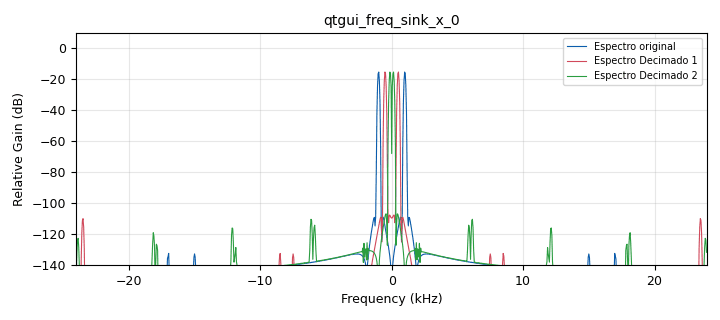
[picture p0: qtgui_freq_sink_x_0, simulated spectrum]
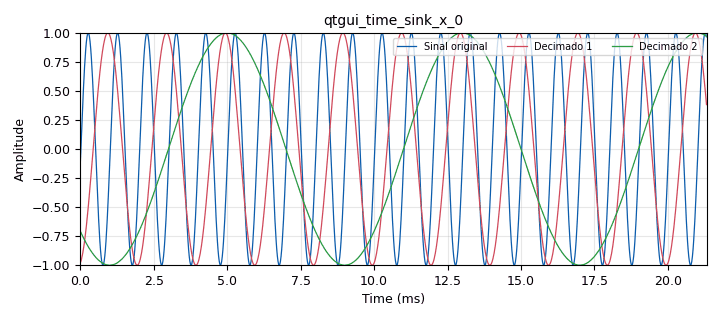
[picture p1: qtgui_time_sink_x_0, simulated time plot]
options:
  parameters:
    generate_options: qt_gui
    id: top_block
    output_language: python
  states: {}

blocks:
- name: samp_rate
  id: variable
  parameters:
    value: '48000'
  states: {}
- name: analog_sig_source_x_0
  id: analog_sig_source_x
  parameters:
    amp: '1'
    freq: '1000'
    offset: '0'
    phase: '0'
    samp_rate: samp_rate
    type: float
    waveform: analog.GR_COS_WAVE
  states: {}
- name: blocks_throttle_0
  id: blocks_throttle
  parameters:
    samples_per_second: samp_rate
    type: float
  states: {}
- name: qtgui_freq_sink_x_0
  id: qtgui_freq_sink_x
  parameters:
    bw: samp_rate
    fc: '0'
    fftsize: '1024'
    label1: Espectro original
    label2: Espectro Decimado 1
    label3: Espectro Decimado 2
    nconnections: '3'
    showports: 'True'
    type: float
    wintype: firdes.WIN_BLACKMAN_hARRIS
  states: {}
- name: qtgui_time_sink_x_0
  id: qtgui_time_sink_x
  parameters:
    grid: 'True'
    label1: Sinal original
    label2: Decimado 1
    label3: Decimado 2
    nconnections: '3'
    size: '1024'
    srate: samp_rate
    tr_mode: qtgui.TRIG_MODE_NORM
    type: float
  states: {}
- name: rational_resampler_xxx_0
  id: rational_resampler_xxx
  parameters:
    decim: '1'
    fbw: '0.4'
    interp: '1'
    taps: ''
    type: fff
  states: {}
- name: rational_resampler_xxx_0_0
  id: rational_resampler_xxx
  parameters:
    decim: '1'
    fbw: '0.4'
    interp: '2'
    taps: ''
    type: fff
  states: {}
- name: rational_resampler_xxx_0_1
  id: rational_resampler_xxx
  parameters:
    decim: '1'
    fbw: '0.4'
    interp: '8'
    taps: ''
    type: fff
  states: {}

connections:
- [analog_sig_source_x_0, '0', rational_resampler_xxx_0, '0']
- [analog_sig_source_x_0, '0', rational_resampler_xxx_0_0, '0']
- [analog_sig_source_x_0, '0', rational_resampler_xxx_0_1, '0']
- [blocks_throttle_0, '0', qtgui_time_sink_x_0, '0']
- [rational_resampler_xxx_0, '0', blocks_throttle_0, '0']
- [rational_resampler_xxx_0, '0', qtgui_freq_sink_x_0, '0']
- [rational_resampler_xxx_0_0, '0', qtgui_freq_sink_x_0, '1']
- [rational_resampler_xxx_0_0, '0', qtgui_time_sink_x_0, '1']
- [rational_resampler_xxx_0_1, '0', qtgui_freq_sink_x_0, '2']
- [rational_resampler_xxx_0_1, '0', qtgui_time_sink_x_0, '2']

metadata:
  file_format: 1
